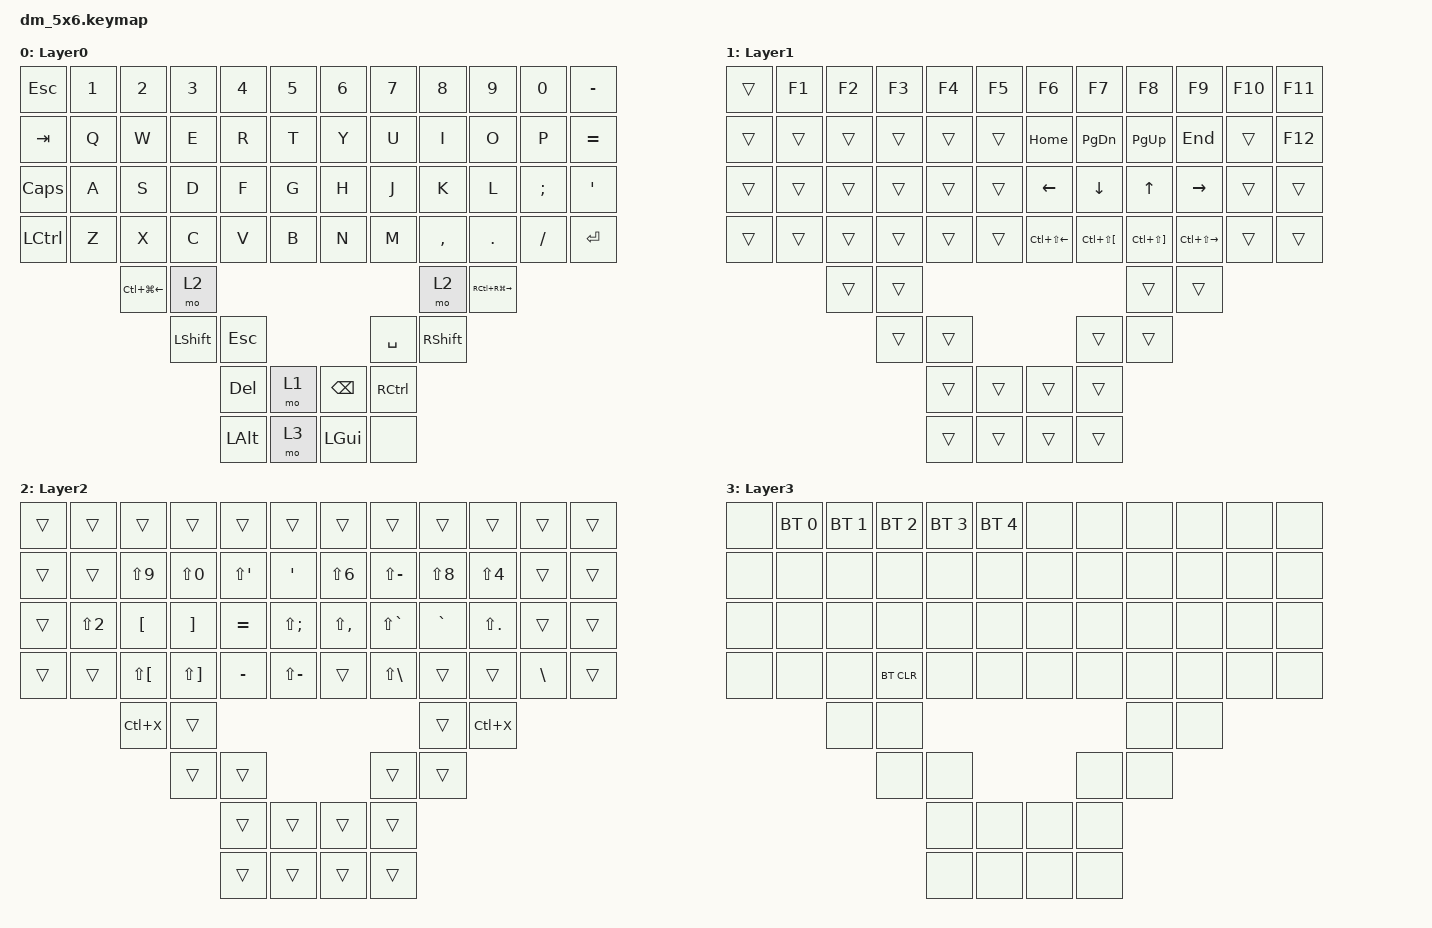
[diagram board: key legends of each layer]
// This file was generated from a template. Edit it to match your keyboard.
// See https://zmk.dev/docs/development/hardware-integration/new-shield for more instructions.

#include <behaviors.dtsi>
#include <dt-bindings/zmk/bt.h>
#include <dt-bindings/zmk/keys.h>

/ {
    // Define a default keymap here.
    // See https://zmk.dev/docs/development/hardware-integration/new-shield#default-keymap.
    keymap {
        compatible = "zmk,keymap";

        default_layer { // layer0
            display-name = "Layer0";

// | SW1  | SW2  | SW3  | SW4  | SW5  | SW6  |                 | SW6 | SW5  | SW4  | SW3  | SW2  | SW1 |
// | SW7  | SW8  | SW9  | SW10 | SW11 | SW12 |                 | SW12 | SW11 | SW10 | SW9 | SW8 | SW7 |
// | SW13 | SW14 | SW15 | SW16 | SW17 | SW18 |                 | SW18 | SW17 | SW16 | SW15 | SW14 | SW13 |
// | SW19 | SW20 | SW21 | SW22 | SW23 | SW24 |                 | SW24 | SW23 | SW22 | SW21 | SW20 | SW19 |
//               | SW25 | SW26 |                                             | SW26 | SW25 |
//                             | SW27 | SW28 |                 | SW28 | SW27 |
//                                    | SW29 | SW30 |   | SW30 | SW29 |
//                                    | SW31 | SW32 |   | SW32 | SW31 |
            // this is an array
            bindings = <
                &kp ESC     &kp N1   &kp N2    &kp N3      &kp N4    &kp N5            &kp N6   &kp N7       &kp N8      &kp N9     &kp N0     &kp MINUS  
                &kp TAB     &kp Q    &kp W     &kp E       &kp R     &kp T             &kp Y    &kp U        &kp I       &kp O      &kp P      &kp EQUAL  
                &kp CAPS    &kp A    &kp S     &kp D       &kp F     &kp G             &kp H    &kp J        &kp K       &kp L      &kp SEMI   &kp SQT  
                &kp LCTRL   &kp Z    &kp X     &kp C       &kp V     &kp B             &kp N    &kp M        &kp COMMA   &kp PERIOD &kp SLASH  &kp RET   
                                     &kp LC(LG(LEFT))   &mo 2                                                &mo 2       &kp RC(RG(RIGHT))  
                                               &kp LSHIFT  &kp ESC                              &kp SPACE    &kp RSHIFT  
                                                           &kp DEL   &mo 1          &kp BSPC    &kp RCTRL  
                                                           &kp LALT  &mo 3          &kp LGUI    &none
            >;
        };
        layer_one { // layer1
            display-name = "Layer1";
            bindings = <
                &trans   &kp F1   &kp F2   &kp F3   &kp F4   &kp F5            &kp F6             &kp F7             &kp F8             &kp F9              &kp F10   &kp F11 
                &trans   &trans   &trans   &trans   &trans   &trans            &kp HOME           &kp PG_DN          &kp PG_UP          &kp END             &trans    &kp F12 
                &trans   &trans   &trans   &trans   &trans   &trans            &kp LEFT           &kp DOWN           &kp UP             &kp RIGHT           &trans    &trans 
                &trans   &trans   &trans   &trans   &trans   &trans            &kp LC(LS(LEFT))   &kp LC(LS(LBKT))   &kp LC(LS(RBKT))   &kp LC(LS(RIGHT))   &trans    &trans 
                                  &trans   &trans                                                                    &trans             &trans 
                                           &trans   &trans                                        &trans             &trans  
                                                    &trans   &trans            &trans             &trans  
                                                    &trans   &trans            &trans             &trans
            >;
        };
        layer_two { // layer2
            display-name = "Layer2";
            bindings = <
                &trans   &trans         &trans         &trans         &trans        &trans                   &trans            &trans          &trans       &trans          &trans     &trans 
                &trans   &trans         &kp LS(N9)     &kp LS(N0)     &kp LS(SQT)   &kp SQT                  &kp LS(N6)        &kp LS(MINUS)   &kp LS(N8)   &kp LS(N4)      &trans     &trans 
                &trans   &kp LS(N2)     &kp LBKT       &kp RBKT       &kp EQUAL     &kp LS(SEMI)             &kp LS(COMMA)     &kp LS(GRAVE)   &kp GRAVE    &kp LS(PERIOD)  &trans     &trans 
                &trans   &trans         &kp LS(LBKT)   &kp LS(RBKT)   &kp MINUS     &kp LS(MINUS)            &trans            &kp LS(BSLH)    &trans       &trans          &kp BSLH   &trans 
                                        &kp LC(X)      &trans                                                                                  &trans       &kp LC(X) 
                                                       &trans         &trans                                                   &trans          &trans 
                                                                      &trans        &trans                   &trans            &trans 
                                                                      &trans        &trans                   &trans            &trans
            >;
        };
        layer_three { // layer3, for bluetooth functions
            display-name = "Layer3";
            bindings = <
                &none  &bt BT_SEL 0  &bt BT_SEL 1  &bt BT_SEL 2  &bt BT_SEL 3  &bt BT_SEL 4     &none  &none  &none  &none  &none  &none 
                &none  &none         &none         &none         &none         &none            &none  &none  &none  &none  &none  &none 
                &none  &none         &none         &none         &none         &none            &none  &none  &none  &none  &none  &none 
                &none  &none         &none         &bt BT_CLR    &none         &none            &none  &none  &none  &none  &none  &none 
                                     &none         &none                                                      &none  &none 
                                                   &none         &none                                 &none  &none 
                                                                 &none         &none            &none  &none 
                                                                 &none         &none            &none  &none
            >;
        };
    };
};
